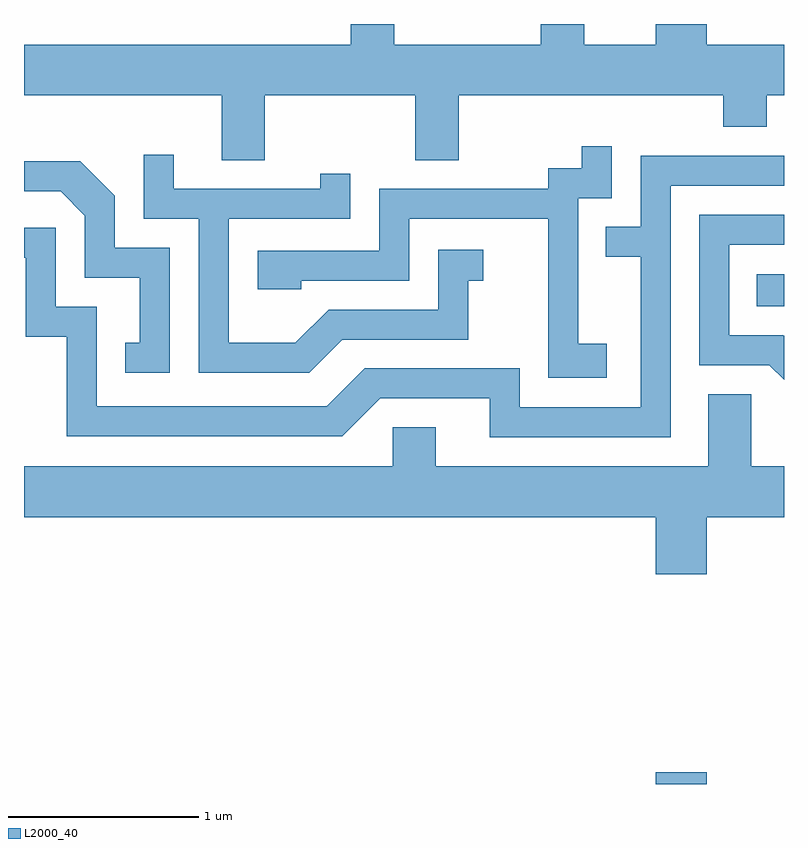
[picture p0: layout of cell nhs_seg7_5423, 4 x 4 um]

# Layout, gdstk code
import gdstk
lib = gdstk.Library(unit=1e-6, precision=1e-09)
def R(c, l, rs):  # rectangles x0, y0, x1, y1
    for r in rs: c.add(gdstk.rectangle(r[:2], r[2:], *l))
def P(c, l, *ps):  # polygons
    for p in ps: c.add(gdstk.Polygon(p, *l))
L2000_40 = (2000, 40)

nhs_seg7_5423 = lib.new_cell('nhs_seg7_5423')
R(nhs_seg7_5423, L2000_40, [(354.936,1706.252,355.204,1706.314), (355.468,1708.766,355.611,1708.934)])
P(nhs_seg7_5423, L2000_40, [(352.879,1709.876),(353.671,1709.876),(353.671,1709.536),(353.899,1709.536),(353.899,1709.876),(355.291,1709.876),(355.291,1709.711),(355.519,1709.711),(355.519,1709.876),(355.611,1709.876),(355.611,1710.144),(355.204,1710.144),(355.204,1710.252),(354.936,1710.252),(354.936,1710.144),(354.559,1710.144),(354.559,1710.252),(354.331,1710.252),(354.331,1710.144),(353.559,1710.144),(353.559,1710.252),(353.331,1710.252),(353.331,1710.144),(351.611,1710.144),(351.611,1709.876),(352.651,1709.876),(352.651,1709.536),(352.879,1709.536)],
  [(354.679,1708.569),(354.529,1708.569),(354.529,1709.336),(354.704,1709.336),(354.704,1709.608),(354.546,1709.608),(354.546,1709.494),(354.371,1709.494),(354.371,1709.384),(353.481,1709.384),(353.481,1709.059),(352.841,1709.059),(352.841,1708.856),(353.069,1708.856),(353.069,1708.901),(353.639,1708.901),(353.639,1709.226),(354.371,1709.226),(354.371,1708.391),(354.679,1708.391)],
  [(353.287,1708.591),(353.949,1708.591),(353.949,1708.901),(354.028,1708.901),(354.028,1709.064),(353.791,1709.064),(353.791,1708.749),(353.214,1708.749),(353.039,1708.574),(352.689,1708.574),(352.689,1709.226),(353.329,1709.226),(353.329,1709.463),(353.171,1709.463),(353.171,1709.384),(352.399,1709.384),(352.399,1709.563),(352.241,1709.563),(352.241,1709.226),(352.531,1709.226),(352.531,1708.416),(353.112,1708.416)],
  [(355.014,1709.401),(355.611,1709.401),(355.611,1709.559),(354.856,1709.559),(354.856,1709.184),(354.673,1709.184),(354.673,1709.026),(354.856,1709.026),(354.856,1708.234),(354.219,1708.234),(354.219,1708.439),(353.404,1708.439),(353.204,1708.239),(351.994,1708.239),(351.994,1708.764),(351.779,1708.764),(351.779,1709.179),(351.611,1709.179),(351.611,1709.021),(351.621,1709.021),(351.621,1708.606),(351.836,1708.606),(351.836,1708.081),(353.287,1708.081),(353.487,1708.281),(354.061,1708.281),(354.061,1708.076),(355.014,1708.076)],
  [(352.379,1709.074),(352.089,1709.074),(352.089,1709.347),(351.907,1709.529),(351.611,1709.529),(351.611,1709.371),(351.804,1709.371),(351.931,1709.244),(351.931,1708.916),(352.221,1708.916),(352.221,1708.574),(352.143,1708.574),(352.143,1708.416),(352.379,1708.416)],
  [(355.611,1708.61),(355.607,1708.614),(355.324,1708.614),(355.324,1709.091),(355.611,1709.091),(355.611,1709.249),(355.166,1709.249),(355.166,1708.456),(355.534,1708.456),(355.611,1708.379)],
  [(355.204,1707.656),(355.611,1707.656),(355.611,1707.924),(355.439,1707.924),(355.439,1708.304),(355.211,1708.304),(355.211,1707.924),(353.779,1707.924),(353.779,1708.129),(353.551,1708.129),(353.551,1707.924),(351.611,1707.924),(351.611,1707.656),(354.936,1707.656),(354.936,1707.356),(355.204,1707.356)])

lib.write_gds('nhs_seg7_5423.gds')
